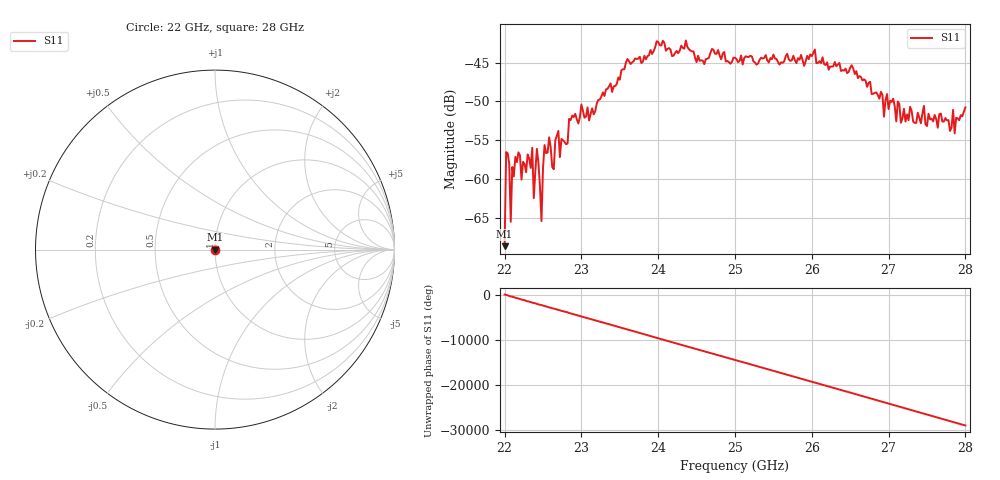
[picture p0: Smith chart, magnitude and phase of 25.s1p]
#  HZ  S  RI  R  50.00
! Rohde & Schwarz ZVA40 4Ports - Version 3.90 - 1145.1110k42 SN: 100403
! Date: 2023-10-04 08:38:31
! Measurement: S12
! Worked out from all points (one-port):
!   301 points, 22 GHz to 28 GHz, reference 50 ohm
!   lowest |S11| = -68.6 dB at 22 GHz (marker M1), VSWR 1.00, Z = 50 + j0.0159 ohm
!   |S11| at or under -10 dB: start of sweep to end of sweep
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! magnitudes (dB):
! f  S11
! 22 GHz  -68.6
! 22.02 GHz  -56.5
! 22.06 GHz  -58.0
! 22.08 GHz  -65.5
! 22.1 GHz  -58.4
! 22.14 GHz  -57.1
! 22.22 GHz  -60.1
! 22.36 GHz  -56.0
! 22.38 GHz  -62.4
! 22.42 GHz  -56.1
! 22.48 GHz  -65.4
! 22.52 GHz  -55.6
! 22.58 GHz  -54.6
! 22.64 GHz  -58.7
! 22.66 GHz  -55.0
! 22.76 GHz  -55.0
! 23.5 GHz  -47.2
! 23.98 GHz  -42.3
! 24.26 GHz  -43.8
! 25 GHz  -44.4
! 25.76 GHz  -44.1
! 26.5 GHz  -45.6
! 26.94 GHz  -52.0
! 27.26 GHz  -52.4
! 27.8 GHz  -53.8
! 27.84 GHz  -51.1
! 27.86 GHz  -54.1
! 28 GHz  -50.8
